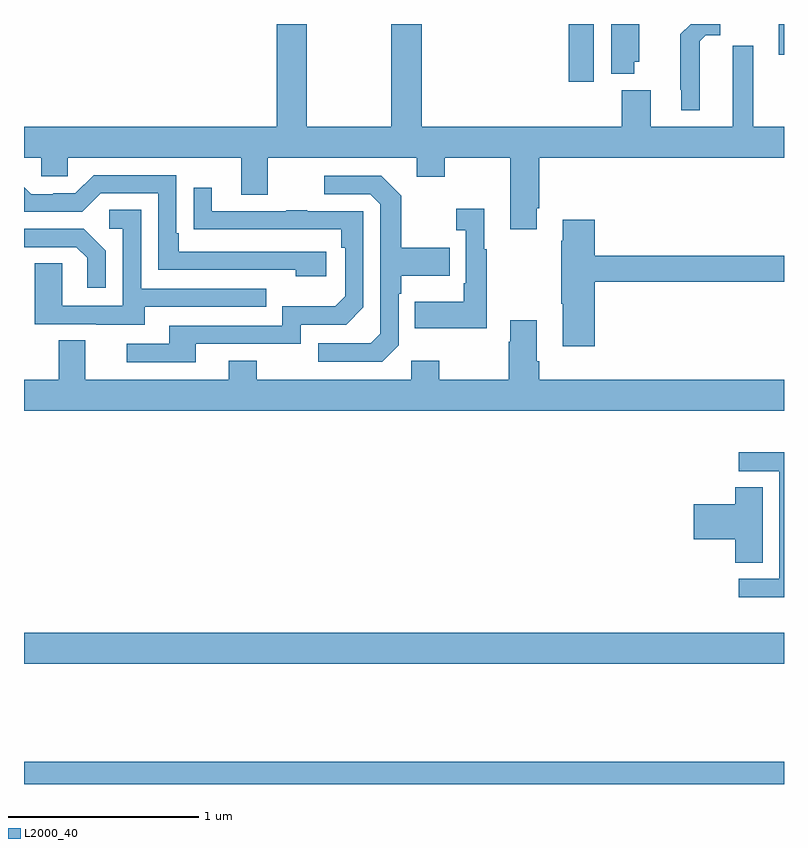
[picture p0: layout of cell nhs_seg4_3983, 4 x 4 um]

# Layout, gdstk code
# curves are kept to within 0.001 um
import gdstk
lib = gdstk.Library(unit=1e-6, precision=1e-09)
def R(c, l, rs):  # rectangles x0, y0, x1, y1
    for r in rs: c.add(gdstk.rectangle(r[:2], r[2:], *l))
def P(c, l, *ps):  # polygons
    for p in ps: c.add(gdstk.Polygon(p, *l))
L2000_40 = (2000, 40)

nhs_seg4_3983 = lib.new_cell('nhs_seg4_3983')
R(nhs_seg4_3983, L2000_40, [(323,750.9,327,751.016), (323,751.532,327,751.696), (325.868,754.596,325.999,754.9), (326.972,754.739,327,754.9)])
P(nhs_seg4_3983, L2000_40, [(325.699,753.931),(325.712,753.931),(325.712,754.196),(327,754.196),(327,754.36),(326.839,754.36),(326.839,754.786),(326.729,754.786),(326.729,754.36),(326.299,754.36),(326.299,754.552),(326.147,754.552),(326.147,754.36),(325.094,754.36),(325.094,754.9),(324.934,754.9),(324.934,754.36),(324.489,754.36),(324.489,754.9),(324.329,754.9),(324.329,754.36),(323,754.36),(323,754.196),(323.091,754.196),(323.091,754.098),(323.229,754.098),(323.229,754.196),(324.143,754.196),(324.143,754.002),(324.283,754.002),(324.283,754.196),(325.067,754.196),(325.067,754.097),(325.215,754.097),(325.215,754.196),(325.559,754.196),(325.559,753.819),(325.699,753.819)],
  [(326.212,754.701),(326.239,754.701),(326.239,754.9),(326.09,754.9),(326.09,754.637),(326.212,754.637)],
  [(326.557,754.808),(326.589,754.841),(326.664,754.841),(326.664,754.9),(326.509,754.9),(326.455,754.846),(326.455,754.555),(326.459,754.555),(326.459,754.445),(326.557,754.445)],
  [(324.592,753.702),(323.815,753.702),(323.815,753.799),(323.802,753.799),(323.802,754.104),(323.367,754.104),(323.271,754.008),(323.153,754.008),(323.153,754.005),(323.037,754.005),(323,754.042),(323,753.912),(323.307,753.912),(323.403,754.008),(323.706,754.008),(323.706,753.606),(324.431,753.606),(324.431,753.572),(324.592,753.572)],
  [(324.972,753.21),(324.972,753.479),(324.985,753.479),(324.985,753.575),(325.241,753.575),(325.241,753.723),(324.985,753.723),(324.985,753.995),(324.879,754.101),(324.579,754.101),(324.579,754.005),(324.822,754.005),(324.876,753.951),(324.876,753.27),(324.825,753.219),(324.549,753.219),(324.549,753.123),(324.885,753.123)],
  [(323.905,753.216),(324.456,753.216),(324.456,753.318),(324.696,753.318),(324.786,753.408),(324.786,753.915),(324.491,753.915),(324.491,753.92),(324.379,753.92),(324.379,753.915),(323.989,753.915),(323.989,754.039),(323.893,754.039),(323.893,753.82),(324.67,753.819),(324.67,753.722),(324.69,753.722),(324.69,753.468),(324.637,753.415),(324.36,753.415),(324.36,753.312),(323.765,753.312),(323.765,753.216),(323.541,753.216),(323.541,753.12),(323.905,753.12)],
  [(325.435,753.715),(325.423,753.715),(325.423,753.928),(325.275,753.928),(325.275,753.815),(325.326,753.815),(325.326,753.535),(325.314,753.535),(325.314,753.439),(325.057,753.439),(325.057,753.299),(325.435,753.299)],
  [(323.635,753.411),(324.275,753.411),(324.275,753.507),(323.616,753.507),(323.616,753.923),(323.448,753.923),(323.448,753.822),(323.52,753.822),(323.52,753.417),(323.202,753.417),(323.202,753.641),(323.057,753.641),(323.057,753.321),(323.381,753.321),(323.381,753.317),(323.635,753.317)],
  [(326.003,753.544),(327,753.544),(327,753.68),(326.003,753.68),(326.003,753.871),(325.835,753.871),(325.835,753.758),(325.828,753.758),(325.828,753.427),(325.835,753.427),(325.835,753.204),(326.003,753.204)],
  [(323.43,753.706),(323.314,753.822),(323,753.822),(323,753.726),(323.276,753.726),(323.333,753.669),(323.333,753.513),(323.43,753.513)],
  [(327,753.028),(325.712,753.028),(325.712,753.124),(325.699,753.124),(325.699,753.34),(325.559,753.34),(325.559,753.227),(325.552,753.227),(325.552,753.028),(325.185,753.028),(325.185,753.127),(325.038,753.127),(325.038,753.028),(324.225,753.028),(324.225,753.127),(324.077,753.127),(324.077,753.028),(323.323,753.028),(323.323,753.236),(323.183,753.236),(323.183,753.028),(323,753.028),(323,752.864),(327,752.864)],
  [(327,752.646),(326.763,752.646),(326.763,752.547),(326.976,752.547),(326.976,751.98),(326.763,751.98),(326.763,751.884),(327,751.884)],
  [(326.887,752.462),(326.744,752.462),(326.744,752.372),(326.526,752.372),(326.526,752.189),(326.744,752.189),(326.744,752.065),(326.887,752.065)])

lib.write_gds('nhs_seg4_3983.gds')
